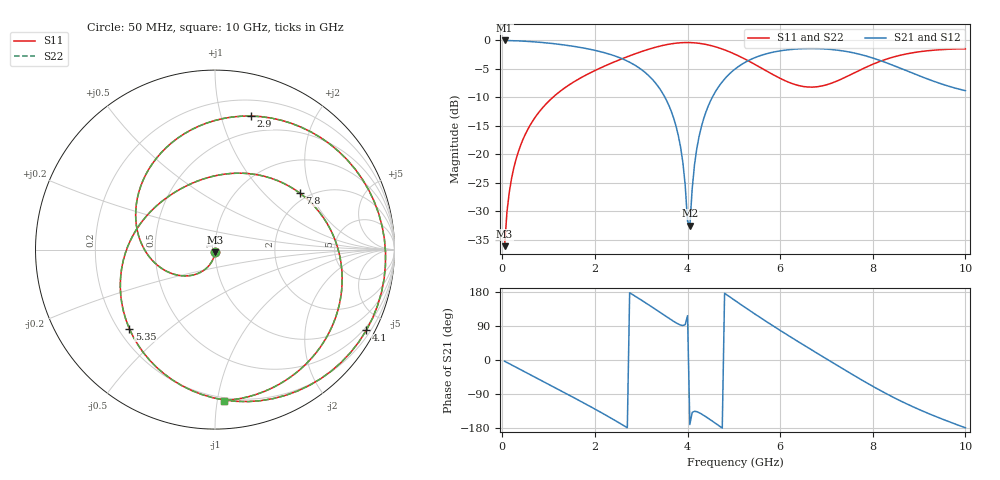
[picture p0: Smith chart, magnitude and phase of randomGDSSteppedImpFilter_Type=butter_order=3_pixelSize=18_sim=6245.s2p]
! freq	dB(S11)	phase(S11)	dB(S12)	phase(S12)
!  dB(S21)	phase(S21)	dB(S22)	phase(S22)
!S-par simulation data
#  GHz  S  DB  R 50
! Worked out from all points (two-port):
!   200 points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, 50 MHz to 10 GHz, reference 50 ohm
!   highest |S21| = -0.01 dB at 50 MHz (marker M1); lowest = -32.6 dB at 4.05 GHz (marker M2)
!   |S21| within 3 dB of the highest: start of sweep to 2.523 GHz; 5.461 GHz to 7.966 GHz (2.505 GHz wide, 37.3 % of centre)
!   lowest |S11| = -36.2 dB at 50 MHz (marker M3), VSWR 1.03, Z = 49.9 - j1.55 ohm
!   |S11| at or under -10 dB: start of sweep to 1.092 GHz
!   |S22| runs from -36.2 to -0.4 dB; largest |S21 - S12| = 0
!   S11 on the Smith chart (normalised r, x): 50 MHz: 1.00, -0.03; 2.9 GHz: 0.34, +1.25; 4.1 GHz: 0.39, -3.97; 5.35 GHz: 0.24, -0.37; 7.8 GHz: 1.80, +1.67; 10 GHz: 0.18, -1.05
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0.05  -36.17 -92.7  -0.01 -3.3  -0.01 -3.3  -36.17 -92.8
0.2  -24.27 -103.1  -0.04 -12.9  -0.04 -12.9  -24.27 -103.1
0.5  -16.45 -122.7  -0.15 -32.2  -0.15 -32.2  -16.45 -122.7
1.15  -9.59 -164.6  -0.61 -73.8  -0.61 -73.8  -9.59 -164.6
1.75  -6.33 156.4  -1.33 -112.8  -1.33 -112.8  -6.33 156.4
2.35  -4.01 115.5  -2.51 -153.5  -2.51 -153.5  -4.01 115.5
2.9  -2.26 74.8  -4.53 166.1  -4.53 166.1  -2.26 74.8
3.4  -1.01 34.1  -8.49 126.2  -8.49 126.2  -1.01 34.1
3.8  -0.44 -0.9  -16.68 95.0  -16.68 95.0  -0.44 -1.0
4.05  -0.38 -23.5  -32.55 -170.3  -32.55 -170.3  -0.38 -23.6
4.1  -0.40 -28.0  -26.15 -138.4  -26.15 -138.4  -0.40 -28.1
4.2  -0.46 -37.1  -19.02 -136.3  -19.02 -136.3  -0.46 -37.2
4.4  -0.71 -55.2  -12.52 -150.1  -12.52 -150.1  -0.71 -55.3
5.05  -2.52 -112.2  -4.88 154.8  -4.88 154.8  -2.52 -112.3
5.35  -3.75 -137.3  -3.40 129.9  -3.40 129.9  -3.75 -137.4
6  -6.67 170.4  -1.83 78.1  -1.83 78.1  -6.67 170.3
6.7  -8.21 115.7  -1.43 25.2  -1.43 25.2  -8.20 115.6
7.2  -7.23 77.4  -1.67 -11.9  -1.67 -11.9  -7.23 77.4
7.8  -4.92 33.7  -2.61 -55.4  -2.61 -55.4  -4.92 33.6
8.35  -3.14 -3.0  -4.10 -92.6  -4.10 -92.6  -3.15 -3.0
9.25  -1.76 -52.7  -6.98 -143.6  -6.98 -143.6  -1.76 -52.7
10  -1.49 -86.6  -8.83 -178.9  -8.83 -178.9  -1.49 -86.6
